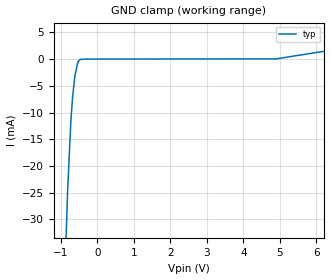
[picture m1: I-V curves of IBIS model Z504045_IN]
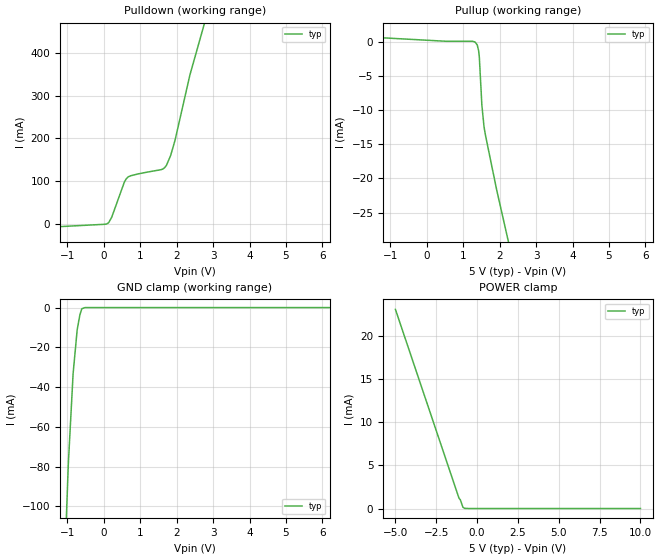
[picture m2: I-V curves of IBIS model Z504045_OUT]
| YOU ARE ONLY AUTHORIZED TO USE THIS SOFTWARE
| ACCORDING TO LICENSOR'S LICENSE RESTRICTIONS.
[IBIS Ver] 3.1
[File Name] mc74f85n.ibs
[File Rev] 2.0
[Source] Measured and created by ICX Technology
[Date] Friday 7/14/00 9:08:05 AM
[Copyright]
| (C) COPYRIGHT 1993-2000
| MENTOR GRAPHICS CORPORATION
| ICX STANDARD LIBRARY, ICX PROJECT MODELING,
| ICX CUSTOM MODELING, ICX VENDOR MODEL
| ALL RIGHTS RESERVED.
| THE FOLLOWING ARE TRADEMARKS OR SERVICE MARKS OF
| MENTOR GRAPHICS CORPORATION:ICX (R), ICX STANDARD
| LIBRARY(R), ICX PROJECT MODELING(R), ICX CUSTOM
| MODELING(R), qualityIBIS(TM), MODELVIEWER(TM),
| AND MODELEDITOR(TM)
| ALL COPIES OF SOFTWARE, INCLUDING BUT NOT LIMITED TO
| ANY MODIFICATIONS, ENHANCEMENTS OR DERIVATIVE WORKS,
| MUST CONTAIN ALL MENTOR GRAPHICS CORPORATION'S
| NOTICES AND LEGENDS, INCLUDING THOSE EMBEDDED IN
| SOFTWARE AND THOSE AFFIXED TO SOFTWARE MEDIUM
| AND CONTAINER, AS RECEIVED FROM MENTOR GRAPHICS
| CORPORATION.
|  ZAP Model Builder 2.7
[Component] MC74F85N
[Manufacturer] OnSemiconductor
[Package]
| variable   typ   min   max
R_pkg  .212ohms NA NA
L_pkg  4.758nH NA NA
C_pkg  1.143pF NA NA
[Pin] signal_name  model_name  R_pin  L_pin C_pin
1 B3 Z504045_IN .224 7.258n 1.578p
2 A_LT_B_I Z504045_IN .216 5.258n 1.288p
3 A_EQ_B_I Z504045_IN .208 3.758n .998p
4 A_GT_B_I Z504045_IN .2 2.758n .708p
5 A_GT_B_O Z504045_OUT .2 2.758n .708p
6 A_EQ_B_O Z504045_OUT .208 3.758n .998p
7 A_LT_B_O Z504045_OUT .216 5.258n 1.288p
8 GND GND .224 7.258n 1.578p
9 B0 Z504045_IN .224 7.258n 1.578p
10 A0 Z504045_IN .216 5.258n 1.288p
11 B1 Z504045_IN .208 3.758n .998p
12 A1 Z504045_IN .2 2.758n .708p
13 A2 Z504045_IN .2 2.758n .708p
14 B2 Z504045_IN .208 3.758n .998p
15 A3 Z504045_IN .216 5.258n 1.288p
16 VCC POWER .224 7.258n 1.578p
| Models and submodels in the file (2): Z504045_IN (Input), Z504045_OUT (Output)
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| (C) COPYRIGHT 1993-2000
| MENTOR GRAPHICS CORPORATION
| ICX STANDARD LIBRARY, ICX PROJECT MODELING,
| ICX CUSTOM MODELING, ICX VENDOR MODEL
| ALL RIGHTS RESERVED.
| THE FOLLOWING ARE TRADEMARKS OR SERVICE MARKS OF
| MENTOR GRAPHICS CORPORATION:ICX (R), ICX STANDARD
| LIBRARY(R), ICX PROJECT MODELING(R), ICX CUSTOM
| MODELING(R), qualityIBIS(TM), MODELVIEWER(TM),
| AND MODELEDITOR(TM)
| ALL COPIES OF SOFTWARE, INCLUDING BUT NOT LIMITED TO
| ANY MODIFICATIONS, ENHANCEMENTS OR DERIVATIVE WORKS,
| MUST CONTAIN ALL MENTOR GRAPHICS CORPORATION'S
| NOTICES AND LEGENDS, INCLUDING THOSE EMBEDDED IN
| SOFTWARE AND THOSE AFFIXED TO SOFTWARE MEDIUM
| AND CONTAINER, AS RECEIVED FROM MENTOR GRAPHICS
| CORPORATION.
| Model Application Version 1.89 2/18/99.
[Model] Z504045_IN
Model_type Input
Vinl = 800.0mV
Vinh = 2.000V
C_comp 4.000pF NA NA
| variable typ   min   max
[Voltage Range] 5.000V NA NA
[GND Clamp Reference] 0.000V NA NA
[POWER Clamp Reference] 5.000V NA NA
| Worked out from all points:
|   GND clamp passes 1 mA (typ) near -0.55 V on its own axis
[GND Clamp]
-5V       -899.2mA   NA         NA
-815mV    -24.84mA   NA         NA
-727.3mV  -11.85mA   NA         NA
-678.1mV  -7.105mA   NA         NA
-615.2mV  -3.175mA   NA         NA
-542.1mV  -769.4uA   NA         NA
-527.1mV  -487.6uA   NA         NA
-484mV    -149.3uA   NA         NA
-449.1mV  -34.83uA   NA         NA
-224.5mV  131.9nA    NA         NA
4.892V    39.33uA    NA         NA
10V       5.542mA    NA         NA
[POWER Clamp]
-5V       0A         NA         NA
10V       0A         NA         NA
| (C) COPYRIGHT 1993-2000
| MENTOR GRAPHICS CORPORATION
| ICX STANDARD LIBRARY, ICX PROJECT MODELING,
| ICX CUSTOM MODELING, ICX VENDOR MODEL
| ALL RIGHTS RESERVED.
| THE FOLLOWING ARE TRADEMARKS OR SERVICE MARKS OF
| MENTOR GRAPHICS CORPORATION:ICX (R), ICX STANDARD
| LIBRARY(R), ICX PROJECT MODELING(R), ICX CUSTOM
| MODELING(R), qualityIBIS(TM), MODELVIEWER(TM),
| AND MODELEDITOR(TM)
| ALL COPIES OF SOFTWARE, INCLUDING BUT NOT LIMITED TO
| ANY MODIFICATIONS, ENHANCEMENTS OR DERIVATIVE WORKS,
| MUST CONTAIN ALL MENTOR GRAPHICS CORPORATION'S
| NOTICES AND LEGENDS, INCLUDING THOSE EMBEDDED IN
| SOFTWARE AND THOSE AFFIXED TO SOFTWARE MEDIUM
| AND CONTAINER, AS RECEIVED FROM MENTOR GRAPHICS
| CORPORATION.
| Model Application Version 1.89 2/18/99.
[Model] Z504045_OUT
Model_type Output
Vref=0.000V
Rref=500.0ohms
Cref=50.00pF
Vmeas=1.500V
C_comp 8.000pF NA NA
| variable typ   min   max
[Voltage Range] 5.000V NA NA
[POWER Clamp Reference] 5.000V NA NA
[Pullup Reference] 5.000V NA NA
[Pulldown Reference] 0.000V NA NA
[GND Clamp Reference] 0.000V NA NA
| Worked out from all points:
|   slope of the pulldown table from 0 to 0.75 V, typ, clamps not added: 6.58 ohm
|   slope of the pullup table from 0 to 0.75 V, typ, clamps not added: 4.84 kohm
|   GND clamp passes 1 mA (typ) near -0.61 V on its own axis
|   POWER clamp passes 1 mA (typ) near -1.03 V on its own axis
[GND Clamp]
-5V       -2.532A    NA         NA
-1.092V   -136.4mA   NA         NA
-975mV    -78.47mA   NA         NA
-844.5mV  -33.28mA   NA         NA
-732.4mV  -11.14mA   NA         NA
-658.2mV  -3.663mA   NA         NA
-604.4mV  -563.8uA   NA         NA
-518.1mV  0A         NA         NA
10V       0A         NA         NA
[Pulldown]
-5V       -23.89mA   NA         NA
29.72mV   -1.419mA   NA         NA
130.1mV   2.118mA    NA         NA
214.8mV   14.78mA    NA         NA
561.8mV   97.06mA    NA         NA
668.9mV   109.6mA    NA         NA
1.568V    126.3mA    NA         NA
1.719V    136.6mA    NA         NA
1.834V    159.7mA    NA         NA
1.953V    194.7mA    NA         NA
2.363V    348.2mA    NA         NA
10V       2.657A     NA         NA
[Pullup]
-5V       1.668mA    NA         NA
532.5mV   56.76uA    NA         NA
1.26V     56.76uA    NA         NA
1.324V    -61.93uA   NA         NA
1.382V    -463.5uA   NA         NA
1.421V    -1.327mA   NA         NA
1.44V     -2.286mA   NA         NA
1.509V    -9.227mA   NA         NA
1.568V    -12.42mA   NA         NA
1.607V    -13.64mA   NA         NA
1.914V    -21.62mA   NA         NA
10V       -211.6mA   NA         NA
[POWER Clamp]
-5V       23.12mA    NA         NA
-1.107V   1.19mA     NA         NA
-1.03V    1.025mA    NA         NA
-869mV    150.4uA    NA         NA
-767mV    20.64uA    NA         NA
-511.3mV  0A         NA         NA
10V       0A         NA         NA
[Ramp]
| variable typ min max
dV/dt_r 2.058/2.568n NA NA
dV/dt_f 2.058/2.152n NA NA
R_load = 500.0Ohms
